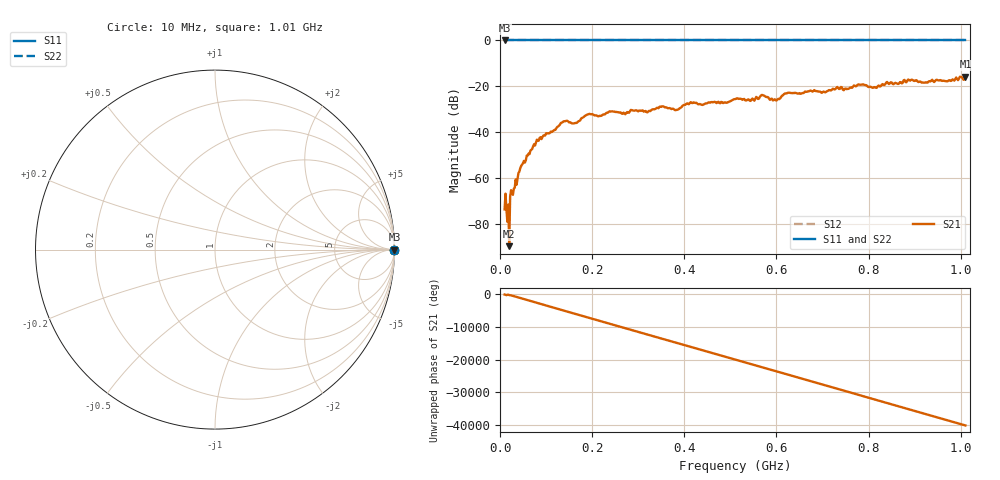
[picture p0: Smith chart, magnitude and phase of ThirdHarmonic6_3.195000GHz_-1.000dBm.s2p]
! 8/17/2025 9:41:15 AM
! C:\ANRITSUVNA\TEMP\TEMP.S2P
! CHANNEL.1
! TR.MEASUREMENT
! RAW.DATA
! RF.CORRECTION.OFF
! AVERAGING.OFF
! IF.BANDWIDTH: 5KHZ
! SWEEPTYPE:  FREQ.SWEEP(Linear)
! Reference Plane Port Info
! PORT:  PORT1  PORT2
! DISTANCE:  0  m  0  m
! TIME:  0  s  0  s
! PHASE.OFFSET:  0  deg.  0  deg.
! LOSS:  0  dB  0  dB
! REF.LOSS:  0  dB  0  dB
! REF.FREQ:  0  Hz  0  Hz
! Power Info
! POWER:  -20  dBm  -20  dBm
! EFF.POWER:  -20  dBm  -20  dBm
! SOURCE.ATTEN:  0  dB  0  dB
! TEST.ATTEN:  0  dB  0  dB
# GHZ S RI R 50.0
! FREQ.GHZ  S11RE  S11IM  S21RE  S21IM  S12RE  S12IM  S22RE  S22IM
!; PortSelection: Port_12
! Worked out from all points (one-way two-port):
!   501 points, 10 MHz to 1.01 GHz, reference 50 ohm
!   highest |S21| = -15.80 dB at 1.01 GHz (marker M1); lowest = -89.6 dB at 20 MHz (marker M2)
!   lowest |S11| = 0.0 dB at 10 MHz (marker M3)
!   |S11| at or under -10 dB: nowhere
!   |S22| runs from 0.0 to 0.0 dB; largest |S21 - S12| = 1.1
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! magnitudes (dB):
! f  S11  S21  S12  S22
! 10 MHz  0.0  -73.6  0.0  0.0
! 18 MHz  0.0  -71.5  0.0  0.0
! 20 MHz  0.0  -89.6  0.0  0.0
! 26 MHz  0.0  -66.9  0.0  0.0
! 44 MHz  0.0  -55.6  0.0  0.0
! 76 MHz  0.0  -45.7  0.0  0.0
! 136 MHz  0.0  -35.6  0.0  0.0
! 162 MHz  0.0  -36.0  0.0  0.0
! 178 MHz  0.0  -33.8  0.0  0.0
! 344 MHz  0.0  -29.5  0.0  0.0
! 384 MHz  0.0  -30.2  0.0  0.0
! 416 MHz  0.0  -27.2  0.0  0.0
! 510 MHz  0.0  -25.5  0.0  0.0
! 548 MHz  0.0  -25.3  0.0  0.0
! 570 MHz  0.0  -23.8  0.0  0.0
! 596 MHz  0.0  -25.6  0.0  0.0
! 622 MHz  0.0  -23.0  0.0  0.0
! 678 MHz  0.0  -22.2  0.0  0.0
! 782 MHz  0.0  -19.3  0.0  0.0
! 814 MHz  0.0  -20.3  0.0  0.0
! 844 MHz  0.0  -19.0  0.0  0.0
! 1.01 GHz  0.0  -15.8  0.0  0.0
